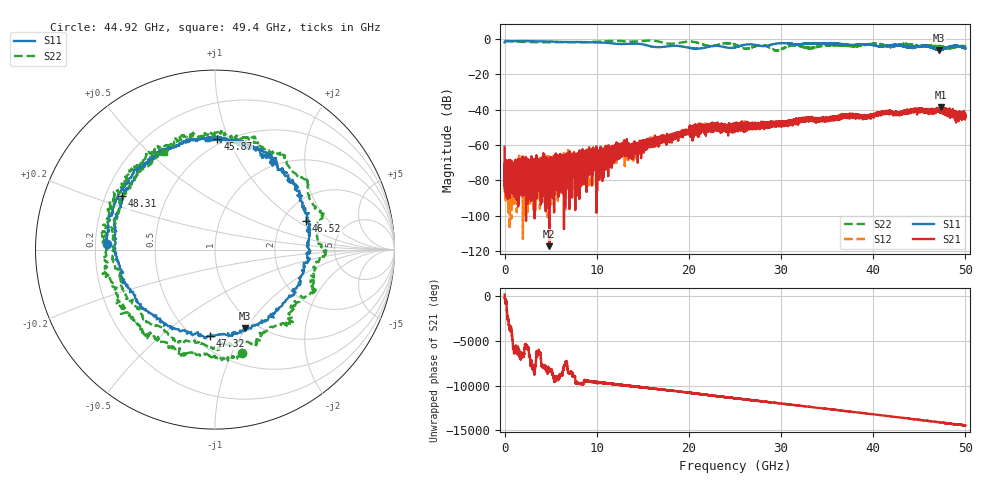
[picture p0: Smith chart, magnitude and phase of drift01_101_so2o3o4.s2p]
!Created with skrf (http://scikit-rf.org).
# Hz S RI R 50.0
!freq ReS11 ImS11 ReS21 ImS21 ReS12 ImS12 ReS22 ImS22
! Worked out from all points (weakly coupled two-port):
!   10001 points, 300 kHz to 50 GHz, reference 50 ohm
!   highest |S21| = -38.66 dB at 47.39 GHz (marker M1); lowest = -117.0 dB at 4.85 GHz (marker M2)
!   lowest |S11| = -6.6 dB at 47.15 GHz (marker M3), VSWR 2.77, Z = 43.9 - j49.4 ohm
!   |S11| at or under -10 dB: nowhere
!   |S22| runs from -6.8 to -1.0 dB; largest |S21 - S12| = 0.0037
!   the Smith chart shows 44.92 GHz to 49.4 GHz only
!   S11 on the Smith chart (normalised r, x): 44.92 GHz: 0.25, +0.02; 45.87 GHz: 0.46, +0.91; 46.52 GHz: 2.68, +1.20; 47.32 GHz: 0.60, -0.75; 48.31 GHz: 0.27, +0.25; 49.4 GHz: 0.91, +1.41
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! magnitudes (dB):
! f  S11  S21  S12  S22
! 300 kHz  -2.1  -61.0  -69.3  -1.3
! 275.3 MHz  -1.4  -80.9  -71.3  -1.4
! 4.85 GHz  -1.6  -117.0  -66.5  -2.1
! 8.335 GHz  -1.9  -66.7  -69.4  -2.1
! 16.67 GHz  -4.8  -58.8  -56.9  -1.6
! 21.48 GHz  -5.4  -49.4  -50.1  -3.2
! 25 GHz  -5.0  -50.8  -49.4  -3.4
! 26.19 GHz  -3.4  -48.8  -48.8  -5.7
! 28.09 GHz  -4.3  -48.6  -50.9  -3.8
! 29.52 GHz  -2.8  -47.6  -48.0  -6.7
! 31.26 GHz  -3.1  -46.6  -46.8  -3.9
! 33.34 GHz  -2.6  -44.2  -45.6  -5.6
! 41.67 GHz  -3.9  -42.0  -41.3  -4.6
! 44.92 GHz  -4.4  -39.8  -39.7  -4.5
! 45.87 GHz  -4.2  -41.5  -41.3  -4.1
! 46.52 GHz  -5.5  -40.7  -39.9  -4.0
! 47.15 GHz  -6.6  -39.9  -40.4  -4.0
! 47.32 GHz  -6.3  -39.7  -40.6  -4.1
! 47.39 GHz  -6.3  -38.7  -40.2  -4.8
! 48.31 GHz  -4.4  -41.2  -41.8  -5.3
! 49.4 GHz  -4.5  -43.3  -42.7  -4.2
! 50 GHz  -5.5  -43.3  -43.6  -4.2
